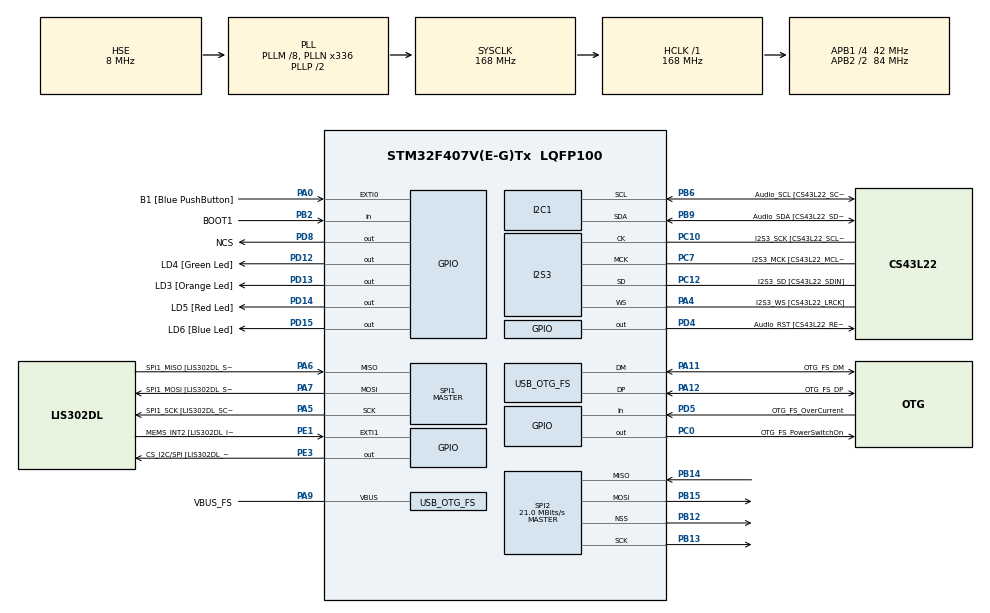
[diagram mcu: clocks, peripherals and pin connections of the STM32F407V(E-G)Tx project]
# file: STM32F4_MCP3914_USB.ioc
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Dma.Request0=SPI2_RX
Dma.Request1=SPI2_TX
Dma.SPI2_RX.0.Direction=DMA_PERIPH_TO_MEMORY
Dma.SPI2_RX.0.FIFOMode=DMA_FIFOMODE_DISABLE
Dma.SPI2_RX.0.Instance=DMA1_Stream3
Dma.SPI2_RX.0.MemDataAlignment=DMA_MDATAALIGN_BYTE
Dma.SPI2_RX.0.MemInc=DMA_MINC_ENABLE
Dma.SPI2_RX.0.Mode=DMA_CIRCULAR
Dma.SPI2_RX.0.PeriphDataAlignment=DMA_PDATAALIGN_BYTE
Dma.SPI2_RX.0.PeriphInc=DMA_PINC_DISABLE
Dma.SPI2_RX.0.Priority=DMA_PRIORITY_VERY_HIGH
Dma.SPI2_TX.1.Direction=DMA_MEMORY_TO_PERIPH
Dma.SPI2_TX.1.FIFOMode=DMA_FIFOMODE_DISABLE
Dma.SPI2_TX.1.Instance=DMA1_Stream4
Dma.SPI2_TX.1.MemDataAlignment=DMA_MDATAALIGN_BYTE
Dma.SPI2_TX.1.MemInc=DMA_MINC_ENABLE
Dma.SPI2_TX.1.Mode=DMA_CIRCULAR
Dma.SPI2_TX.1.PeriphDataAlignment=DMA_PDATAALIGN_BYTE
Dma.SPI2_TX.1.PeriphInc=DMA_PINC_DISABLE
Dma.SPI2_TX.1.Priority=DMA_PRIORITY_VERY_HIGH
I2S3.AudioFreq-Half_Duplex_Master=I2S_AUDIOFREQ_96K
I2S3.ErrorAudioFreq=-2.34 %
I2S3.ErrorAudioFreq-Half_Duplex_Master=0.8 %
I2S3.FullDuplexMode=I2S_FULLDUPLEXMODE_DISABLE
I2S3.Instance=SPI$Index
I2S3.RealAudioFreq=93.75 KHz
I2S3.RealAudioFreq-Half_Duplex_Master=96.774 KHz
I2S3.VirtualMode=I2S_MODE_MASTER
Mcu.Family=STM32F4
Mcu.Name=STM32F407V(E-G)Tx
Mcu.Package=LQFP100
NVIC.DMA1_Stream3_IRQn=true\:0\:0\:false\:false\:true\:false\:true\:true
NVIC.DMA1_Stream4_IRQn=true\:0\:0\:false\:false\:true\:false\:true\:true
NVIC.OTG_FS_IRQn=true\:0\:0\:false\:false\:true\:true\:true\:true
NVIC.PriorityGroup=NVIC_PRIORITYGROUP_0
NVIC.TIM1_UP_TIM10_IRQn=true\:0\:0\:false\:false\:true\:true\:true\:true
PA0-WKUP.GPIO_Label=B1 [Blue PushButton]
PA0-WKUP.GPIO_ModeDefaultEXTI=GPIO_MODE_EVT_RISING
PA0-WKUP.GPIO_PuPd=GPIO_NOPULL
PA0-WKUP.Signal=GPXTI0
PA10.GPIO_Label=OTG_FS_ID
PA10.GPIO_Mode=GPIO_MODE_AF_PP
PA10.GPIO_PuPd=GPIO_NOPULL
PA10.GPIO_Speed=GPIO_SPEED_FREQ_LOW
PA10.Signal=USB_OTG_FS_ID
PA11.GPIO_Label=OTG_FS_DM
PA11.GPIO_Mode=GPIO_MODE_AF_PP
PA11.GPIO_PuPd=GPIO_NOPULL
PA11.GPIO_Speed=GPIO_SPEED_FREQ_LOW
PA11.Mode=Device_Only
PA11.Signal=USB_OTG_FS_DM
PA12.GPIO_Label=OTG_FS_DP
PA12.GPIO_Mode=GPIO_MODE_AF_PP
PA12.GPIO_PuPd=GPIO_NOPULL
PA12.GPIO_Speed=GPIO_SPEED_FREQ_LOW
PA12.Mode=Device_Only
PA12.Signal=USB_OTG_FS_DP
PA13.GPIO_Label=SWDIO
PA13.Mode=Serial_Wire
PA13.Signal=SYS_JTMS-SWDIO
PA14.GPIO_Label=SWCLK
PA14.Mode=Serial_Wire
PA14.Signal=SYS_JTCK-SWCLK
PA4.GPIO_Label=I2S3_WS [CS43L22_LRCK]
PA4.GPIO_Mode=GPIO_MODE_AF_PP
PA4.GPIO_PuPd=GPIO_NOPULL
PA4.GPIO_Speed=GPIO_SPEED_FREQ_LOW
PA4.Mode=Half_Duplex_Master
PA4.Signal=I2S3_WS
PA5.GPIO_Label=SPI1_SCK [LIS302DL_SCL/SPC]
PA5.GPIO_Mode=GPIO_MODE_AF_PP
PA5.GPIO_PuPd=GPIO_NOPULL
PA5.GPIO_Speed=GPIO_SPEED_FREQ_LOW
PA5.Mode=Full_Duplex_Master
PA5.Signal=SPI1_SCK
PA6.GPIO_Label=SPI1_MISO [LIS302DL_SDO]
PA6.GPIO_Mode=GPIO_MODE_AF_PP
PA6.GPIO_PuPd=GPIO_NOPULL
PA6.GPIO_Speed=GPIO_SPEED_FREQ_LOW
PA6.Mode=Full_Duplex_Master
PA6.Signal=SPI1_MISO
PA7.GPIO_Label=SPI1_MOSI [LIS302DL_SDA/SDI/SDO]
PA7.GPIO_Mode=GPIO_MODE_AF_PP
PA7.GPIO_PuPd=GPIO_NOPULL
PA7.GPIO_Speed=GPIO_SPEED_FREQ_LOW
PA7.Mode=Full_Duplex_Master
PA7.Signal=SPI1_MOSI
PA9.GPIO_Label=VBUS_FS
PA9.GPIO_Mode=GPIO_MODE_INPUT
PA9.GPIO_PuPd=GPIO_NOPULL
PA9.Mode=Activate_VBUS
PA9.Signal=USB_OTG_FS_VBUS
PB10.GPIO_Label=CLK_IN [MP45DT02_CLK]
PB10.GPIO_Mode=GPIO_MODE_AF_PP
PB10.GPIO_PuPd=GPIO_NOPULL
PB10.GPIO_Speed=GPIO_SPEED_FREQ_LOW
PB10.Signal=I2S2_CK
PB12.Mode=NSS_Signal_Hard_Output
PB12.Signal=SPI2_NSS
PB13.Mode=Full_Duplex_Master
PB13.Signal=SPI2_SCK
PB14.Mode=Full_Duplex_Master
PB14.Signal=SPI2_MISO
PB15.Mode=Full_Duplex_Master
PB15.Signal=SPI2_MOSI
PB2.GPIO_Label=BOOT1
PB2.GPIO_Mode=GPIO_MODE_INPUT
PB2.GPIO_PuPd=GPIO_NOPULL
PB2.Signal=GPIO_Input
PB3.GPIO_Label=SWO
PB3.Signal=SYS_JTDO-SWO
PB6.GPIO_Label=Audio_SCL [CS43L22_SCL]
PB6.GPIO_Mode=GPIO_MODE_AF_OD
PB6.GPIO_Pu=GPIO_PULLUP
PB6.GPIO_PuPd=GPIO_NOPULL
PB6.GPIO_Speed=GPIO_SPEED_FREQ_LOW
PB6.Mode=I2C
PB6.Signal=I2C1_SCL
PB9.GPIO_Label=Audio_SDA [CS43L22_SDA]
PB9.GPIO_Mode=GPIO_MODE_AF_OD
PB9.GPIO_Pu=GPIO_PULLUP
PB9.GPIO_PuPd=GPIO_NOPULL
PB9.GPIO_Speed=GPIO_SPEED_FREQ_LOW
PB9.Mode=I2C
PB9.Signal=I2C1_SDA
PC0.GPIO_Label=OTG_FS_PowerSwitchOn
PC0.GPIO_PuPd=GPIO_NOPULL
PC0.GPIO_Speed=GPIO_SPEED_FREQ_LOW
PC0.PinState=GPIO_PIN_SET
PC0.Signal=GPIO_Output
PC10.GPIO_Label=I2S3_SCK [CS43L22_SCLK]
PC10.GPIO_Mode=GPIO_MODE_AF_PP
PC10.GPIO_PuPd=GPIO_NOPULL
PC10.GPIO_Speed=GPIO_SPEED_FREQ_LOW
PC10.Mode=Half_Duplex_Master
PC10.Signal=I2S3_CK
PC12.GPIO_Label=I2S3_SD [CS43L22_SDIN]
PC12.GPIO_Mode=GPIO_MODE_AF_PP
PC12.GPIO_PuPd=GPIO_NOPULL
PC12.GPIO_Speed=GPIO_SPEED_FREQ_LOW
PC12.Mode=Half_Duplex_Master
PC12.Signal=I2S3_SD
PC14-OSC32_IN.GPIO_Label=PC14-OSC32_IN
PC14-OSC32_IN.Mode=LSE-External-Oscillator
PC14-OSC32_IN.Signal=RCC_OSC32_IN
PC15-OSC32_OUT.GPIO_Label=PC15-OSC32_OUT
PC15-OSC32_OUT.Mode=LSE-External-Oscillator
PC15-OSC32_OUT.Signal=RCC_OSC32_OUT
PC3.GPIO_Label=PDM_OUT [MP45DT02_DOUT]
PC3.GPIO_Mode=GPIO_MODE_AF_PP
PC3.GPIO_PuPd=GPIO_NOPULL
PC3.GPIO_Speed=GPIO_SPEED_FREQ_LOW
PC3.Signal=I2S2_SD
PC7.GPIO_Label=I2S3_MCK [CS43L22_MCLK]
PC7.GPIO_Mode=GPIO_MODE_AF_PP
PC7.GPIO_PuPd=GPIO_NOPULL
PC7.GPIO_Speed=GPIO_SPEED_FREQ_LOW
PC7.Mode=Master_Clock_Activated
PC7.Signal=I2S3_MCK
PD12.GPIO_Label=LD4 [Green Led]
PD12.GPIO_PuPd=GPIO_NOPULL
PD12.GPIO_Speed=GPIO_SPEED_FREQ_LOW
PD12.Signal=GPIO_Output
PD13.GPIO_Label=LD3 [Orange Led]
PD13.GPIO_PuPd=GPIO_NOPULL
PD13.GPIO_Speed=GPIO_SPEED_FREQ_LOW
PD13.Signal=GPIO_Output
PD14.GPIO_Label=LD5 [Red Led]
PD14.GPIO_PuPd=GPIO_NOPULL
PD14.GPIO_Speed=GPIO_SPEED_FREQ_LOW
PD14.Signal=GPIO_Output
PD15.GPIO_Label=LD6 [Blue Led]
PD15.GPIO_PuPd=GPIO_NOPULL
PD15.GPIO_Speed=GPIO_SPEED_FREQ_LOW
PD15.Signal=GPIO_Output
PD4.GPIO_Label=Audio_RST [CS43L22_RESET]
PD4.GPIO_PuPd=GPIO_NOPULL
PD4.GPIO_Speed=GPIO_SPEED_FREQ_LOW
PD4.Signal=GPIO_Output
PD5.GPIO_Label=OTG_FS_OverCurrent
PD5.GPIO_Mode=GPIO_MODE_INPUT
PD5.GPIO_PuPd=GPIO_NOPULL
PD5.Signal=GPIO_Input
PD8.GPIO_Label=NCS
PD8.Signal=GPIO_Output
PE1.GPIO_Label=MEMS_INT2 [LIS302DL_INT2]
PE1.GPIO_ModeDefaultEXTI=GPIO_MODE_EVT_RISING
PE1.GPIO_PuPd=GPIO_NOPULL
PE1.Signal=GPXTI1
PE3.GPIO_Label=CS_I2C/SPI [LIS302DL_CS_I2C/SPI]
PE3.GPIO_PuPd=GPIO_NOPULL
PE3.GPIO_Speed=GPIO_SPEED_FREQ_LOW
PE3.Signal=GPIO_Output
PH0-OSC_IN.GPIO_Label=PH0-OSC_IN
PH0-OSC_IN.Mode=HSE-External-Oscillator
PH0-OSC_IN.Signal=RCC_OSC_IN
PH1-OSC_OUT.GPIO_Label=PH1-OSC_OUT
PH1-OSC_OUT.Mode=HSE-External-Oscillator
PH1-OSC_OUT.Signal=RCC_OSC_OUT
ProjectManager.HeapSize=0x200
ProjectManager.StackSize=0x400
ProjectManager.TargetToolchain=Makefile
RCC.48MHZClocksFreq_Value=48000000
RCC.AHBFreq_Value=168000000
RCC.APB1CLKDivider=RCC_HCLK_DIV4
RCC.APB1Freq_Value=42000000
RCC.APB1TimFreq_Value=84000000
RCC.APB2CLKDivider=RCC_HCLK_DIV2
RCC.APB2Freq_Value=84000000
RCC.APB2TimFreq_Value=168000000
RCC.CortexFreq_Value=168000000
RCC.HCLKFreq_Value=168000000
RCC.HSE_VALUE=8000000
RCC.HSI_VALUE=16000000
RCC.PLLM=8
RCC.PLLN=336
RCC.PLLQ=7
RCC.SYSCLKFreq_VALUE=168000000
RCC.SYSCLKSource=RCC_SYSCLKSOURCE_PLLCLK
RCC.VCOOutputFreq_Value=336000000
SPI1.BaudRatePrescaler-Full_Duplex_Master=SPI_BAUDRATEPRESCALER_2
SPI1.CalculateBaudRate-Full_Duplex_Master=42.0 MBits/s
SPI1.Direction=SPI_DIRECTION_2LINES
SPI1.Mode=SPI_MODE_MASTER
SPI1.Mode-Full_Duplex_Master=SPI_MODE_MASTER
SPI1.VirtualType=VM_MASTER
SPI2.CalculateBaudRate=21.0 MBits/s
SPI2.Direction=SPI_DIRECTION_2LINES
SPI2.Mode=SPI_MODE_MASTER
SPI2.VirtualNSS=VM_NSSHARD
SPI2.VirtualType=VM_MASTER
TIM1.Period=65536-1
TIM1.Prescaler=168-1
USB_DEVICE.CLASS_NAME_FS=CDC
USB_DEVICE.VirtualMode-CDC_FS=Cdc
USB_DEVICE.VirtualModeFS=Cdc_FS
USB_OTG_FS.VirtualMode=Device_Only
VP_TIM1_VS_ClockSourceINT.Mode=Internal
VP_USB_DEVICE_VS_USB_DEVICE_CDC_FS.Mode=CDC_FS
board=STM32F407G-DISC1

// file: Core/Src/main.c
/* USER CODE BEGIN Header */
/**
  ******************************************************************************
  * @file           : main.c
  * @brief          : Main program body
  ******************************************************************************
  * @attention
  *
  * Copyright (c) 2024 STMicroelectronics.
  * All rights reserved.
  *
  * This software is licensed under terms that can be found in the LICENSE file
  * in the root directory of this software component.
  * If no LICENSE file comes with this software, it is provided AS-IS.
  *
  ******************************************************************************
  */
/* USER CODE END Header */
#include "main.h"
#include "usb_device.h"

/* USER CODE BEGIN Includes */
#include "usbd_cdc_if.h"
#include "MCP3914.h"
/* USER CODE END Includes */

/* USER CODE BEGIN PD */
#define BUFFER_SIZE 12  // Adjust the buffer size as needed
/* USER CODE END PD */

I2C_HandleTypeDef hi2c1;

I2S_HandleTypeDef hi2s3;

SPI_HandleTypeDef hspi1;
SPI_HandleTypeDef hspi2;
DMA_HandleTypeDef hdma_spi2_rx;
DMA_HandleTypeDef hdma_spi2_tx;

TIM_HandleTypeDef htim1;

/* USER CODE BEGIN PV */
static MCP3914 adc;
uint8_t spiComplete = 0;
uint8_t spiHalfComplete = 0;
/* USER CODE END PV */

void SystemClock_Config(void);
static void MX_GPIO_Init(void);
static void MX_DMA_Init(void);
static void MX_I2C1_Init(void);
static void MX_I2S3_Init(void);
static void MX_SPI1_Init(void);
static void MX_SPI2_Init(void);
static void MX_TIM1_Init(void);

int main(void)
{

  /* MCU Configuration--------------------------------------------------------*/

  /* Reset of all peripherals, Initializes the Flash interface and the Systick. */
  HAL_Init();

  /* Configure the system clock */
  SystemClock_Config();

  /* Initialize all configured peripherals */
  MX_GPIO_Init();
  MX_DMA_Init();
  MX_I2C1_Init();
  MX_I2S3_Init();
  MX_SPI1_Init();
  MX_SPI2_Init();
  MX_USB_DEVICE_Init();
  MX_TIM1_Init();
  /* USER CODE BEGIN 2 */
  MCP3914_Initialise(&adc, &hspi2, NCS_GPIO_Port, NCS_Pin, BUFFER_SIZE);

  // ARRAY TO SET OSR TO 32 BY WRITING TO CONFIG0
  uint8_t osr32[3];

  // Extract the individual bytes using bitwise operations
  osr32[0] = (MCP3914_OSR_32 >> 16) & 0xFF; // Most significant byte
  osr32[1] = (MCP3914_OSR_32 >> 8) & 0xFF;  // Middle byte
  osr32[2] = MCP3914_OSR_32 & 0xFF;         // Least significant byte

  MCP3914_WriteRegister(&adc, MCP3914_REG_CONFIG0, osr32);

  // ARRAY TO STATUSCOM TO SINGLE CHANNEL
  uint8_t singleChannel[3];

  // Extract the individual bytes using bitwise operations
  singleChannel[0] = (MCP3914_SINGLECHANNEL >> 16) & 0xFF; // Most significant byte
  singleChannel[1] = (MCP3914_SINGLECHANNEL >> 8) & 0xFF;  // Middle byte
  singleChannel[2] = MCP3914_SINGLECHANNEL & 0xFF;         // Least significant byte

  MCP3914_WriteRegister(&adc, MCP3914_REG_STATUSCOM, singleChannel);

  //uint8_t dataBuffer[BUFFER_SIZE];
  /* USER CODE END 2 */

  /* Infinite loop */
  /* USER CODE BEGIN WHILE */

  while (1)
  {

    //HAL_GPIO_TogglePin(LD3_GPIO_Port, LD3_Pin);
     if(spiHalfComplete == 1)
     {
      spiHalfComplete = 0;
     }

     if(spiComplete == 1)
     {
      spiComplete = 0;
     }

    //  MCP3914_ReadRegister_Buffer(&adc, MCP3914_REG_CHANNEL_1, BUFFER_SIZE);
     MCP3914_ReadRegister(&adc, MCP3914_REG_CHANNEL_1);
     CDC_Transmit_FS(adc.adcData, sizeof(adc.adcData));
    /* USER CODE END WHILE */

  }
}

void SystemClock_Config(void)
{
  RCC_OscInitTypeDef RCC_OscInitStruct = {0};
  RCC_ClkInitTypeDef RCC_ClkInitStruct = {0};

  /** Configure the main internal regulator output voltage
  */
  __HAL_RCC_PWR_CLK_ENABLE();
  __HAL_PWR_VOLTAGESCALING_CONFIG(PWR_REGULATOR_VOLTAGE_SCALE1);

  /** Initializes the RCC Oscillators according to the specified parameters
  * in the RCC_OscInitTypeDef structure.
  */
  RCC_OscInitStruct.OscillatorType = RCC_OSCILLATORTYPE_HSE;
  RCC_OscInitStruct.HSEState = RCC_HSE_ON;
  RCC_OscInitStruct.PLL.PLLState = RCC_PLL_ON;
  RCC_OscInitStruct.PLL.PLLSource = RCC_PLLSOURCE_HSE;
  RCC_OscInitStruct.PLL.PLLM = 8;
  RCC_OscInitStruct.PLL.PLLN = 336;
  RCC_OscInitStruct.PLL.PLLP = RCC_PLLP_DIV2;
  RCC_OscInitStruct.PLL.PLLQ = 7;
  if (HAL_RCC_OscConfig(&RCC_OscInitStruct) != HAL_OK)
  {
    Error_Handler();
  }

  /** Initializes the CPU, AHB and APB buses clocks
  */
  RCC_ClkInitStruct.ClockType = RCC_CLOCKTYPE_HCLK|RCC_CLOCKTYPE_SYSCLK
                              |RCC_CLOCKTYPE_PCLK1|RCC_CLOCKTYPE_PCLK2;
  RCC_ClkInitStruct.SYSCLKSource = RCC_SYSCLKSOURCE_PLLCLK;
  RCC_ClkInitStruct.AHBCLKDivider = RCC_SYSCLK_DIV1;
  RCC_ClkInitStruct.APB1CLKDivider = RCC_HCLK_DIV4;
  RCC_ClkInitStruct.APB2CLKDivider = RCC_HCLK_DIV2;

  if (HAL_RCC_ClockConfig(&RCC_ClkInitStruct, FLASH_LATENCY_5) != HAL_OK)
  {
    Error_Handler();
  }
}

static void MX_I2C1_Init(void)
{

  hi2c1.Instance = I2C1;
  hi2c1.Init.ClockSpeed = 100000;
  hi2c1.Init.DutyCycle = I2C_DUTYCYCLE_2;
  hi2c1.Init.OwnAddress1 = 0;
  hi2c1.Init.AddressingMode = I2C_ADDRESSINGMODE_7BIT;
  hi2c1.Init.DualAddressMode = I2C_DUALADDRESS_DISABLE;
  hi2c1.Init.OwnAddress2 = 0;
  hi2c1.Init.GeneralCallMode = I2C_GENERALCALL_DISABLE;
  hi2c1.Init.NoStretchMode = I2C_NOSTRETCH_DISABLE;
  if (HAL_I2C_Init(&hi2c1) != HAL_OK)
  {
    Error_Handler();
  }

}

static void MX_I2S3_Init(void)
{

  hi2s3.Instance = SPI3;
  hi2s3.Init.Mode = I2S_MODE_MASTER_TX;
  hi2s3.Init.Standard = I2S_STANDARD_PHILIPS;
  hi2s3.Init.DataFormat = I2S_DATAFORMAT_16B;
  hi2s3.Init.MCLKOutput = I2S_MCLKOUTPUT_ENABLE;
  hi2s3.Init.AudioFreq = I2S_AUDIOFREQ_96K;
  hi2s3.Init.CPOL = I2S_CPOL_LOW;
  hi2s3.Init.ClockSource = I2S_CLOCK_PLL;
  hi2s3.Init.FullDuplexMode = I2S_FULLDUPLEXMODE_DISABLE;
  if (HAL_I2S_Init(&hi2s3) != HAL_OK)
  {
    Error_Handler();
  }

}

static void MX_SPI1_Init(void)
{

  /* SPI1 parameter configuration*/
  hspi1.Instance = SPI1;
  hspi1.Init.Mode = SPI_MODE_MASTER;
  hspi1.Init.Direction = SPI_DIRECTION_2LINES;
  hspi1.Init.DataSize = SPI_DATASIZE_8BIT;
  hspi1.Init.CLKPolarity = SPI_POLARITY_LOW;
  hspi1.Init.CLKPhase = SPI_PHASE_1EDGE;
  hspi1.Init.NSS = SPI_NSS_SOFT;
  hspi1.Init.BaudRatePrescaler = SPI_BAUDRATEPRESCALER_2;
  hspi1.Init.FirstBit = SPI_FIRSTBIT_MSB;
  hspi1.Init.TIMode = SPI_TIMODE_DISABLE;
  hspi1.Init.CRCCalculation = SPI_CRCCALCULATION_DISABLE;
  hspi1.Init.CRCPolynomial = 10;
  if (HAL_SPI_Init(&hspi1) != HAL_OK)
  {
    Error_Handler();
  }

}

static void MX_SPI2_Init(void)
{

  /* SPI2 parameter configuration*/
  hspi2.Instance = SPI2;
  hspi2.Init.Mode = SPI_MODE_MASTER;
  hspi2.Init.Direction = SPI_DIRECTION_2LINES;
  hspi2.Init.DataSize = SPI_DATASIZE_8BIT;
  hspi2.Init.CLKPolarity = SPI_POLARITY_LOW;
  hspi2.Init.CLKPhase = SPI_PHASE_1EDGE;
  hspi2.Init.NSS = SPI_NSS_HARD_OUTPUT;
  hspi2.Init.BaudRatePrescaler = SPI_BAUDRATEPRESCALER_2;
  hspi2.Init.FirstBit = SPI_FIRSTBIT_MSB;
  hspi2.Init.TIMode = SPI_TIMODE_DISABLE;
  hspi2.Init.CRCCalculation = SPI_CRCCALCULATION_DISABLE;
  hspi2.Init.CRCPolynomial = 10;
  if (HAL_SPI_Init(&hspi2) != HAL_OK)
  {
    Error_Handler();
  }

}

static void MX_TIM1_Init(void)
{

  TIM_ClockConfigTypeDef sClockSourceConfig = {0};
  TIM_MasterConfigTypeDef sMasterConfig = {0};

  htim1.Instance = TIM1;
  htim1.Init.Prescaler = 168-1;
  htim1.Init.CounterMode = TIM_COUNTERMODE_UP;
  htim1.Init.Period = 65536-1;
  htim1.Init.ClockDivision = TIM_CLOCKDIVISION_DIV1;
  htim1.Init.RepetitionCounter = 0;
  htim1.Init.AutoReloadPreload = TIM_AUTORELOAD_PRELOAD_DISABLE;
  if (HAL_TIM_Base_Init(&htim1) != HAL_OK)
  {
    Error_Handler();
  }
  sClockSourceConfig.ClockSource = TIM_CLOCKSOURCE_INTERNAL;
  if (HAL_TIM_ConfigClockSource(&htim1, &sClockSourceConfig) != HAL_OK)
  {
    Error_Handler();
  }
  sMasterConfig.MasterOutputTrigger = TIM_TRGO_RESET;
  sMasterConfig.MasterSlaveMode = TIM_MASTERSLAVEMODE_DISABLE;
  if (HAL_TIMEx_MasterConfigSynchronization(&htim1, &sMasterConfig) != HAL_OK)
  {
    Error_Handler();
  }

}

static void MX_DMA_Init(void)
{

  /* DMA controller clock enable */
  __HAL_RCC_DMA1_CLK_ENABLE();

  /* DMA interrupt init */
  /* DMA1_Stream3_IRQn interrupt configuration */
  HAL_NVIC_SetPriority(DMA1_Stream3_IRQn, 0, 0);
  HAL_NVIC_EnableIRQ(DMA1_Stream3_IRQn);
  /* DMA1_Stream4_IRQn interrupt configuration */
  HAL_NVIC_SetPriority(DMA1_Stream4_IRQn, 0, 0);
  HAL_NVIC_EnableIRQ(DMA1_Stream4_IRQn);

}

static void MX_GPIO_Init(void)
{
  GPIO_InitTypeDef GPIO_InitStruct = {0};

  /* GPIO Ports Clock Enable */
  __HAL_RCC_GPIOE_CLK_ENABLE();
  __HAL_RCC_GPIOC_CLK_ENABLE();
  __HAL_RCC_GPIOH_CLK_ENABLE();
  __HAL_RCC_GPIOA_CLK_ENABLE();
  __HAL_RCC_GPIOB_CLK_ENABLE();
  __HAL_RCC_GPIOD_CLK_ENABLE();

  /*Configure GPIO pin Output Level */
  HAL_GPIO_WritePin(CS_I2C_SPI_GPIO_Port, CS_I2C_SPI_Pin, GPIO_PIN_RESET);

  /*Configure GPIO pin Output Level */
  HAL_GPIO_WritePin(OTG_FS_PowerSwitchOn_GPIO_Port, OTG_FS_PowerSwitchOn_Pin, GPIO_PIN_SET);

  /*Configure GPIO pin Output Level */
  HAL_GPIO_WritePin(GPIOD, NCS_Pin|LD4_Pin|LD3_Pin|LD5_Pin
                          |LD6_Pin|Audio_RST_Pin, GPIO_PIN_RESET);

  /*Configure GPIO pin : CS_I2C_SPI_Pin */
  GPIO_InitStruct.Pin = CS_I2C_SPI_Pin;
  GPIO_InitStruct.Mode = GPIO_MODE_OUTPUT_PP;
  GPIO_InitStruct.Pull = GPIO_NOPULL;
  GPIO_InitStruct.Speed = GPIO_SPEED_FREQ_LOW;
  HAL_GPIO_Init(CS_I2C_SPI_GPIO_Port, &GPIO_InitStruct);

  /*Configure GPIO pin : OTG_FS_PowerSwitchOn_Pin */
  GPIO_InitStruct.Pin = OTG_FS_PowerSwitchOn_Pin;
  GPIO_InitStruct.Mode = GPIO_MODE_OUTPUT_PP;
  GPIO_InitStruct.Pull = GPIO_NOPULL;
  GPIO_InitStruct.Speed = GPIO_SPEED_FREQ_LOW;
  HAL_GPIO_Init(OTG_FS_PowerSwitchOn_GPIO_Port, &GPIO_InitStruct);

  /*Configure GPIO pin : PDM_OUT_Pin */
  GPIO_InitStruct.Pin = PDM_OUT_Pin;
  GPIO_InitStruct.Mode = GPIO_MODE_AF_PP;
  GPIO_InitStruct.Pull = GPIO_NOPULL;
  GPIO_InitStruct.Speed = GPIO_SPEED_FREQ_LOW;
  GPIO_InitStruct.Alternate = GPIO_AF5_SPI2;
  HAL_GPIO_Init(PDM_OUT_GPIO_Port, &GPIO_InitStruct);

  /*Configure GPIO pin : B1_Pin */
  GPIO_InitStruct.Pin = B1_Pin;
  GPIO_InitStruct.Mode = GPIO_MODE_EVT_RISING;
  GPIO_InitStruct.Pull = GPIO_NOPULL;
  HAL_GPIO_Init(B1_GPIO_Port, &GPIO_InitStruct);

  /*Configure GPIO pin : BOOT1_Pin */
  GPIO_InitStruct.Pin = BOOT1_Pin;
  GPIO_InitStruct.Mode = GPIO_MODE_INPUT;
  GPIO_InitStruct.Pull = GPIO_NOPULL;
  HAL_GPIO_Init(BOOT1_GPIO_Port, &GPIO_InitStruct);

  /*Configure GPIO pin : CLK_IN_Pin */
  GPIO_InitStruct.Pin = CLK_IN_Pin;
  GPIO_InitStruct.Mode = GPIO_MODE_AF_PP;
  GPIO_InitStruct.Pull = GPIO_NOPULL;
  GPIO_InitStruct.Speed = GPIO_SPEED_FREQ_LOW;
  GPIO_InitStruct.Alternate = GPIO_AF5_SPI2;
  HAL_GPIO_Init(CLK_IN_GPIO_Port, &GPIO_InitStruct);

  /*Configure GPIO pins : NCS_Pin LD4_Pin LD3_Pin LD5_Pin
                           LD6_Pin Audio_RST_Pin */
  GPIO_InitStruct.Pin = NCS_Pin|LD4_Pin|LD3_Pin|LD5_Pin
                          |LD6_Pin|Audio_RST_Pin;
  GPIO_InitStruct.Mode = GPIO_MODE_OUTPUT_PP;
  GPIO_InitStruct.Pull = GPIO_NOPULL;
  GPIO_InitStruct.Speed = GPIO_SPEED_FREQ_LOW;
  HAL_GPIO_Init(GPIOD, &GPIO_InitStruct);

  /*Configure GPIO pin : OTG_FS_OverCurrent_Pin */
  GPIO_InitStruct.Pin = OTG_FS_OverCurrent_Pin;
  GPIO_InitStruct.Mode = GPIO_MODE_INPUT;
  GPIO_InitStruct.Pull = GPIO_NOPULL;
  HAL_GPIO_Init(OTG_FS_OverCurrent_GPIO_Port, &GPIO_InitStruct);

  /*Configure GPIO pin : MEMS_INT2_Pin */
  GPIO_InitStruct.Pin = MEMS_INT2_Pin;
  GPIO_InitStruct.Mode = GPIO_MODE_EVT_RISING;
  GPIO_InitStruct.Pull = GPIO_NOPULL;
  HAL_GPIO_Init(MEMS_INT2_GPIO_Port, &GPIO_InitStruct);

}

/* USER CODE BEGIN 4 */
void HAL_SPI_TxRxCpltCallback(SPI_HandleTypeDef *hspi)
{
  spiComplete = 1;
}

void HAL_SPI_TxRxHalfCpltCallback(SPI_HandleTypeDef *hspi)
{
  spiHalfComplete = 1;
}
/* USER CODE END 4 */

void Error_Handler(void)
{
  /* USER CODE BEGIN Error_Handler_Debug */
  HAL_GPIO_TogglePin(LD4_GPIO_Port, LD4_Pin);
  /* User can add his own implementation to report the HAL error return state */
  __disable_irq();
  while (1)
  {
  }
  /* USER CODE END Error_Handler_Debug */
}
